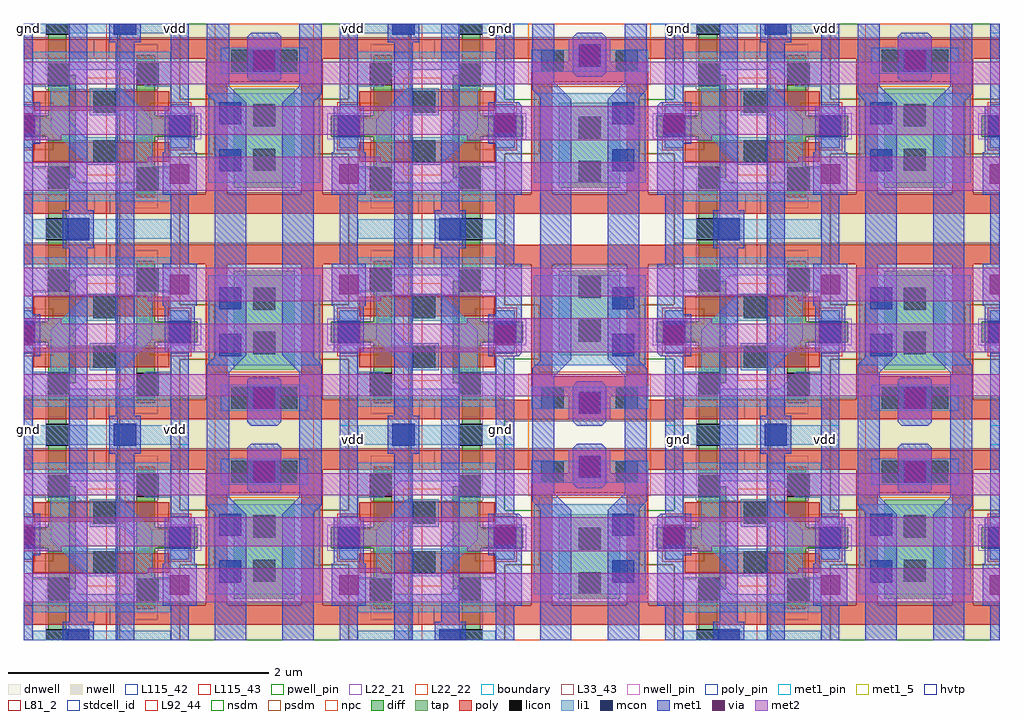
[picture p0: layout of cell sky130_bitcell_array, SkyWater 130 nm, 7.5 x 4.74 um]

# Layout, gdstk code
from math import pi, radians
import gdstk
lib = gdstk.Library(unit=1e-6, precision=1e-09)
def R(c, l, rs):  # rectangles x0, y0, x1, y1
    for r in rs: c.add(gdstk.rectangle(r[:2], r[2:], *l))
def P(c, l, *ps):  # polygons
    for p in ps: c.add(gdstk.Polygon(p, *l))
L22_21 = (22, 21)
L22_22 = (22, 22)
L33_43 = (33, 43)
nwell_pin = (64, 16)
dnwell = (64, 18)
nwell = (64, 20)
diff = (65, 20)
tap = (65, 44)
poly_pin = (66, 16)
poly = (66, 20)
licon = (66, 44)
li1 = (67, 20)
mcon = (67, 44)
met1_5 = (68, 5)
met1_pin = (68, 16)
met1 = (68, 20)
via = (68, 44)
met2 = (69, 20)
hvtp = (78, 44)
L81_2 = (81, 2)
stdcell_id = (81, 4)
L92_44 = (92, 44)
nsdm = (93, 44)
psdm = (94, 20)
npc = (95, 20)
L115_42 = (115, 42)
L115_43 = (115, 43)
pwell_pin = (122, 16)
boundary = (235, 4)

sky130_fd_bd_sram__sram_ = lib.new_cell('sky130_fd_bd_sram__sram_sp_cell_met2')
R(sky130_fd_bd_sram__sram_, met2, [(0,0.295,1.2,0.465)])
P(sky130_fd_bd_sram__sram_, met2, [(0,0.635),(0,0.895),(0.29,0.895),(0.29,0.855),(1.2,0.855),(1.2,0.635)],
  [(0.955,1.025),(0.955,1.065),(0,1.065),(0,1.285),(1.2,1.285),(1.2,1.025)])

c_sky130_fd_bd_sram__sram_ = lib.new_cell('sky130_fd_bd_sram__sram_sp_cell_fom_serif_pmos')
R(c_sky130_fd_bd_sram__sram_, L22_22, [(0,0,0.16,0.12)])

c_sky130_fd_bd_sram__sram__ = lib.new_cell('sky130_fd_bd_sram__sram_sp_cell_fom_serif_nmos')
R(c_sky130_fd_bd_sram__sram__, L22_22, [(0,0,0.16,0.12)])

c_sky130_fd_bd_sram__sram___ = lib.new_cell('sky130_fd_bd_sram__sram_sp_cell_fom_serifs')
c_sky130_fd_bd_sram__sram___.add(gdstk.Reference(c_sky130_fd_bd_sram__sram_, (0.97,0)))
c_sky130_fd_bd_sram__sram___.add(gdstk.Reference(c_sky130_fd_bd_sram__sram_, (0.97,0.24)))
c_sky130_fd_bd_sram__sram___.add(gdstk.Reference(c_sky130_fd_bd_sram__sram__, (0.07,0.24)))
c_sky130_fd_bd_sram__sram___.add(gdstk.Reference(c_sky130_fd_bd_sram__sram__, (0.07,0)))

c_sky130_fd_bd_sram__sram____ = lib.new_cell('sky130_fd_bd_sram__sram_sp_cell')
R(c_sky130_fd_bd_sram__sram____, L22_21, [(0.17,0,0.19,0.395), (0.33,0,0.35,0.395), (0,0.69,0.19,0.71), (0,0.87,0.19,0.89), (0.17,1.185,0.19,1.58), (0.33,1.185,0.35,1.58)])
P(c_sky130_fd_bd_sram__sram____, L22_21, [(0.85,0.16),(0.85,1.42),(1.03,1.42),(1.03,0.89),(1.2,0.89),(1.2,0.87),(1.01,0.87),(1.01,1.335),(0.87,1.335),(0.87,0.245),(1.01,0.245),(1.01,0.71),(1.2,0.71),(1.2,0.69),(1.03,0.69),(1.03,0.16)])
R(c_sky130_fd_bd_sram__sram____, nwell, [(0.72,0,1.2,1.58)])
P(c_sky130_fd_bd_sram__sram____, diff, [(0.87,0.245),(0.87,1.335),(1.01,1.335),(1.01,0.87),(1.2,0.87),(1.2,0.71),(1.01,0.71),(1.01,0.245)],
  [(0.19,0),(0.19,0.71),(0,0.71),(0,0.87),(0.19,0.87),(0.19,1.58),(0.33,1.58),(0.33,1.185),(0.4,1.185),(0.4,0.395),(0.33,0.395),(0.33,0)])
R(c_sky130_fd_bd_sram__sram____, poly, [(0.08,0.12,1.2,0.27), (0.08,0.52,1.12,0.67), (0.08,0.91,1.12,1.06), (0.08,1.31,1.2,1.46)])
R(c_sky130_fd_bd_sram__sram____, licon, [(0.175,0,0.345,0.085), (0.87,0.305,1.04,0.475), (0.185,0.31,0.355,0.48), (0.535,0.515,0.705,0.685), (0,0.705,0.085,0.875), (1.115,0.705,1.2,0.875), (0.535,0.895,0.705,1.065), (0.185,1.1,0.355,1.27), (0.87,1.105,1.04,1.275), (0.175,1.495,0.345,1.58)])
R(c_sky130_fd_bd_sram__sram____, li1, [(0.07,0,1.13,0.075), (0,0.625,0.07,0.955), (1.13,0.625,1.2,0.955), (0.07,1.505,1.13,1.58)])
P(c_sky130_fd_bd_sram__sram____, li1, [(0.07,0.215),(0.07,0.485),(0.21,0.485),(0.21,0.805),(0.49,1.085),(0.71,1.085),(0.71,0.875),(0.48,0.875),(0.35,0.745),(0.35,0.355),(0.81,0.355),(0.94,0.485),(1.13,0.485),(1.13,0.215)],
  [(0.51,0.495),(0.51,0.705),(0.76,0.705),(0.85,0.795),(0.85,1.225),(0.43,1.225),(0.3,1.095),(0.07,1.095),(0.07,1.365),(1.13,1.365),(1.13,1.095),(0.99,1.095),(0.99,0.735),(0.75,0.495)])
R(c_sky130_fd_bd_sram__sram____, mcon, [(1.115,0.705,1.2,0.875)])
R(c_sky130_fd_bd_sram__sram____, hvtp, [(0.72,0,1.2,1.58)])
R(c_sky130_fd_bd_sram__sram____, L81_2, [(0,0,1.2,1.58)])
R(c_sky130_fd_bd_sram__sram____, L92_44, [(0.635,0,1.2,1.58)])
R(c_sky130_fd_bd_sram__sram____, nsdm, [(0,0,0.74,1.58)])
R(c_sky130_fd_bd_sram__sram____, psdm, [(0.74,0,1.2,1.58)])
R(c_sky130_fd_bd_sram__sram____, npc, [(0.49,0.415,0.78,1.165)])
P(c_sky130_fd_bd_sram__sram____, L115_43, [(1.11,0.605),(1.11,0.975),(1.2,0.975),(1.2,0.955),(1.13,0.955),(1.13,0.625),(1.2,0.625),(1.2,0.605)],
  [(0,0.605),(0,0.625),(0.07,0.625),(0.07,0.955),(0,0.955),(0,0.975),(0.09,0.975),(0.09,0.605)])
c_sky130_fd_bd_sram__sram____.add(gdstk.Reference(c_sky130_fd_bd_sram__sram___, (0,0.61)))
c_sky130_fd_bd_sram__sram____.add(gdstk.Label('npass', (0.3,0.21), layer=66, texttype=83))
c_sky130_fd_bd_sram__sram____.add(gdstk.Label('npd', (0.295,0.61), layer=66, texttype=83))
c_sky130_fd_bd_sram__sram____.add(gdstk.Label('npd', (0.295,1), layer=66, texttype=83))
c_sky130_fd_bd_sram__sram____.add(gdstk.Label('npass', (0.3,1.41), layer=66, texttype=83))
c_sky130_fd_bd_sram__sram____.add(gdstk.Label('ppu', (0.93,1.01), layer=66, texttype=83))
c_sky130_fd_bd_sram__sram____.add(gdstk.Label('ppu', (0.945,0.625), layer=66, texttype=83))
c_sky130_fd_bd_sram__sram____.add(gdstk.Label('ppu', (0.94,1.33), layer=66, texttype=83))
c_sky130_fd_bd_sram__sram____.add(gdstk.Label('ppu', (0.94,0.26), layer=66, texttype=83))

c_sky130_fd_bd_sram__sram_____ = lib.new_cell('sky130_fd_bd_sram__sram_sp_cell_addpoly')
R(c_sky130_fd_bd_sram__sram_____, poly, [(0,0.12,0.08,0.27), (0,1.31,0.08,1.46)])

c_sky130_fd_bd_sram__sram______ = lib.new_cell('sky130_fd_bd_sram__sram_sp_cell_metopt1')
R(c_sky130_fd_bd_sram__sram______, mcon, [(0.695,0,0.865,0.085), (0,0.705,0.085,0.875), (1.115,0.705,1.2,0.875), (0.335,1.495,0.505,1.58)])
P(c_sky130_fd_bd_sram__sram______, met1, [(1.13,0),(1.13,0.635),(1.095,0.635),(1.085,0.645),(1.085,0.99),(1.07,0.99),(1.07,1.315),(1.13,1.315),(1.13,1.58),(1.2,1.58),(1.2,0)],
  [(0.66,0),(0.66,0.145),(0.71,0.145),(0.71,1.58),(0.85,1.58),(0.85,0.145),(0.9,0.145),(0.9,0)],
  [(0.35,0),(0.35,1.435),(0.3,1.435),(0.3,1.58),(0.54,1.58),(0.54,1.435),(0.49,1.435),(0.49,0)],
  [(0,0),(0,1.58),(0.07,1.58),(0.07,0.925),(0.13,0.925),(0.13,0.605),(0.07,0.605),(0.07,0)])

c_sky130_fd_bd_sram__sram_______ = lib.new_cell('sky130_fd_bd_sram__sram_sp_cell_opt1_ce')
R(c_sky130_fd_bd_sram__sram_______, dnwell, [(0,0,1.2,1.58)])
c_sky130_fd_bd_sram__sram_______.add(gdstk.Reference(c_sky130_fd_bd_sram__sram____, (0,0)))
c_sky130_fd_bd_sram__sram_______.add(gdstk.Reference(c_sky130_fd_bd_sram__sram_____, (0,0)))
c_sky130_fd_bd_sram__sram_______.add(gdstk.Reference(c_sky130_fd_bd_sram__sram______, (0,0)))

c_sky130_fd_bd_sram__sram________ = lib.new_cell('sky130_fd_bd_sram__sram_sp_cell_via')
R(c_sky130_fd_bd_sram__sram________, via, [(0,0.69,0.075,0.84), (1.125,1.08,1.2,1.23)])

c_sky130_fd_bd_sram__sram_________ = lib.new_cell('sky130_fd_bd_sram__sram_sp_cell_p1_serif')
R(c_sky130_fd_bd_sram__sram_________, L33_43, [(-0.01,-0.125,0.09,0.125)])

c_sky130_fd_bd_sram__sram__________ = lib.new_cell('sky130_fd_bd_sram__sram_sp_cell_p1_serifs')
c_sky130_fd_bd_sram__sram__________.add(gdstk.Reference(c_sky130_fd_bd_sram__sram_________, (0.97,0.515)))
c_sky130_fd_bd_sram__sram__________.add(gdstk.Reference(c_sky130_fd_bd_sram__sram_________, (0.97,0.125)))
c_sky130_fd_bd_sram__sram__________.add(gdstk.Reference(c_sky130_fd_bd_sram__sram_________, (0.01,0.515)))
c_sky130_fd_bd_sram__sram__________.add(gdstk.Reference(c_sky130_fd_bd_sram__sram_________, (0.01,0.125)))

c_sky130_fd_bd_sram__sram___________ = lib.new_cell('sky130_fd_bd_sram__sram_sp_cell_p1m_sizing')
R(c_sky130_fd_bd_sram__sram___________, L33_43, [(0.08,0.105,1.2,0.12), (0.07,0.505,1.13,0.52), (0.07,0.895,1.13,0.91), (0.08,1.295,1.2,1.31)])
c_sky130_fd_bd_sram__sram___________.add(gdstk.Reference(c_sky130_fd_bd_sram__sram__________, (0.07,0.47)))

c_sky130_fd_bd_sram__sram____________ = lib.new_cell('sky130_fd_bd_sram__sram_sp_cell_addpoly_sizing')
R(c_sky130_fd_bd_sram__sram____________, L33_43, [(0,0.105,0.08,0.12), (0,1.295,0.08,1.31)])

c_sky130_fd_bd_sram__sram_____________ = lib.new_cell('sky130_fd_bd_sram__sram_sp_cell_opt1')
R(c_sky130_fd_bd_sram__sram_____________, nwell_pin, [(1.14,0.155,1.19,0.205), (0.01,0.17,0.06,0.23)])
R(c_sky130_fd_bd_sram__sram_____________, nwell, [(0.72,0,1.2,1.58)])
R(c_sky130_fd_bd_sram__sram_____________, poly_pin, [(0.54,0.12,0.66,0.27), (0.545,1.31,0.665,1.46)])
R(c_sky130_fd_bd_sram__sram_____________, poly, [(0.08,1.31,1.2,1.46)])
R(c_sky130_fd_bd_sram__sram_____________, met1_5, [(0,0,0.07,0.075), (1.13,0,1.2,0.075), (0.35,1.04,0.49,1.22), (0.71,1.04,0.85,1.22)])
R(c_sky130_fd_bd_sram__sram_____________, met1_pin, [(0,0,0.07,0.075), (1.13,0,1.2,0.075), (0.35,1.04,0.49,1.22), (0.71,1.04,0.85,1.22)])
R(c_sky130_fd_bd_sram__sram_____________, met1, [(0,0,0.07,0.075), (1.13,0,1.2,0.075), (0.35,1.04,0.49,1.22), (0.71,1.04,0.85,1.22)])
R(c_sky130_fd_bd_sram__sram_____________, pwell_pin, [(0.01,0.17,0.06,0.23), (0.01,0.17,0.06,0.23)])
c_sky130_fd_bd_sram__sram_____________.add(gdstk.Reference(sky130_fd_bd_sram__sram_, (0,0)))
c_sky130_fd_bd_sram__sram_____________.add(gdstk.Reference(c_sky130_fd_bd_sram__sram_______, (0,0)))
c_sky130_fd_bd_sram__sram_____________.add(gdstk.Reference(c_sky130_fd_bd_sram__sram________, (0,0)))
c_sky130_fd_bd_sram__sram_____________.add(gdstk.Reference(c_sky130_fd_bd_sram__sram___________, (0,0)))
c_sky130_fd_bd_sram__sram_____________.add(gdstk.Reference(c_sky130_fd_bd_sram__sram____________, (0,0)))
c_sky130_fd_bd_sram__sram_____________.add(gdstk.Label('BL', (0.425,1.16), layer=68, texttype=5))
c_sky130_fd_bd_sram__sram_____________.add(gdstk.Label('BR', (0.79,1.16), layer=68, texttype=5))
c_sky130_fd_bd_sram__sram_____________.add(gdstk.Label('VGND', (0.035,0.04), layer=68, texttype=5))
c_sky130_fd_bd_sram__sram_____________.add(gdstk.Label('VPWR', (1.165,0.04), layer=68, texttype=5))
c_sky130_fd_bd_sram__sram_____________.add(gdstk.Label('bl', (0.42,1.13), layer=68, texttype=5))
c_sky130_fd_bd_sram__sram_____________.add(gdstk.Label('br', (0.78,1.13), layer=68, texttype=5))
c_sky130_fd_bd_sram__sram_____________.add(gdstk.Label('gnd', (0.035,0.038), layer=68, texttype=5))
c_sky130_fd_bd_sram__sram_____________.add(gdstk.Label('vdd', (1.165,0.038), layer=68, texttype=5))
c_sky130_fd_bd_sram__sram_____________.add(gdstk.Label('WL', (0.605,1.385), layer=66, texttype=5))
c_sky130_fd_bd_sram__sram_____________.add(gdstk.Label('wl', (0.64,1.385), layer=66, texttype=5))
c_sky130_fd_bd_sram__sram_____________.add(gdstk.Label('VPB', (1.165,0.18), layer=64, texttype=5))
c_sky130_fd_bd_sram__sram_____________.add(gdstk.Label('vpb', (0.96,0.79), layer=64, texttype=5))
c_sky130_fd_bd_sram__sram_____________.add(gdstk.Label('VNB', (0.035,0.2), layer=64, texttype=59))
c_sky130_fd_bd_sram__sram_____________.add(gdstk.Label('vnb', (0.035,0.2), layer=64, texttype=59))

c_sky130_fd_bd_sram__sram______________ = lib.new_cell('sky130_fd_bd_sram__sram_sp_wlstrap_ce')
P(c_sky130_fd_bd_sram__sram______________, L22_21, [(0,0.69),(0,0.71),(0.135,0.71),(0.135,0.87),(0,0.87),(0,0.89),(0.165,0.89),(0.165,0.69)],
  [(1.135,0.69),(1.135,0.89),(1.3,0.89),(1.3,0.87),(1.165,0.87),(1.165,0.71),(1.3,0.71),(1.3,0.69)])
R(c_sky130_fd_bd_sram__sram______________, dnwell, [(0,0,1.3,1.58)])
R(c_sky130_fd_bd_sram__sram______________, nwell, [(0,0,1.3,1.58)])
R(c_sky130_fd_bd_sram__sram______________, diff, [(0,0.71,0.135,0.87), (1.165,0.71,1.3,0.87)])
R(c_sky130_fd_bd_sram__sram______________, tap, [(0.415,0.5,0.885,1.26)])
P(c_sky130_fd_bd_sram__sram______________, poly, [(0,0.12),(0,0.27),(0.2,0.27),(0.2,1.31),(0,1.31),(0,1.46),(1.3,1.46),(1.3,1.31),(1.1,1.31),(1.1,0.27),(1.3,0.27),(1.3,0.12),(0.935,0.12),(0.935,1.31),(0.365,1.31),(0.365,0.45),(0.935,0.45),(0.935,0.12)])
R(c_sky130_fd_bd_sram__sram______________, licon, [(0.395,0.2,0.565,0.37), (0.735,0.2,0.905,0.37), (0.565,0.62,0.735,0.79), (0,0.705,0.085,0.875), (1.215,0.705,1.3,0.875), (0.565,0.96,0.735,1.13)])
R(c_sky130_fd_bd_sram__sram______________, li1, [(0.315,0.185,0.985,0.385), (0.22,0.535,1.08,1.225), (0,0.625,0.07,0.955), (1.23,0.625,1.3,0.955)])
R(c_sky130_fd_bd_sram__sram______________, mcon, [(0.565,0.2,0.735,0.37), (0.305,0.605,0.475,0.775), (0,0.705,0.085,0.875), (1.215,0.705,1.3,0.875), (0.305,0.965,0.475,1.135)])
P(c_sky130_fd_bd_sram__sram______________, met1, [(0.21,0),(0.21,0.54),(0.27,0.6),(0.27,1.58),(0.51,1.58),(0.51,0.61),(0.38,0.48),(0.38,0)],
  [(0.55,0.07),(0.52,0.1),(0.52,0.42),(0.54,0.44),(0.76,0.44),(0.78,0.42),(0.78,0.1),(0.75,0.07)],
  [(0.92,0),(0.92,0.48),(0.79,0.61),(0.79,1.58),(1.03,1.58),(1.03,0.6),(1.09,0.54),(1.09,0)],
  [(1.23,0),(1.23,0.635),(1.195,0.635),(1.185,0.645),(1.185,0.99),(1.17,0.99),(1.17,1.315),(1.23,1.315),(1.23,1.58),(1.3,1.58),(1.3,0)],
  [(0,0),(0,1.58),(0.07,1.58),(0.07,1.315),(0.13,1.315),(0.13,0.99),(0.115,0.99),(0.115,0.645),(0.105,0.635),(0.07,0.635),(0.07,0)])
R(c_sky130_fd_bd_sram__sram______________, via, [(0.575,0.205,0.725,0.355), (0,1.08,0.075,1.23), (1.225,1.08,1.3,1.23)])
R(c_sky130_fd_bd_sram__sram______________, hvtp, [(0,0,1.3,1.58)])
R(c_sky130_fd_bd_sram__sram______________, L81_2, [(0,0,1.3,1.58)])
R(c_sky130_fd_bd_sram__sram______________, L92_44, [(0,0,1.3,1.58)])
P(c_sky130_fd_bd_sram__sram______________, nsdm, [(0,0),(0,0.58),(0.265,0.58),(0.265,1),(0,1),(0,1.58),(1.3,1.58),(1.3,1),(1.035,1),(1.035,0.58),(1.3,0.58),(1.3,0)])
R(c_sky130_fd_bd_sram__sram______________, psdm, [(0,0.58,0.265,1), (1.035,0.58,1.3,1)])
R(c_sky130_fd_bd_sram__sram______________, npc, [(0.27,0,1.03,0.485)])
R(c_sky130_fd_bd_sram__sram______________, L115_42, [(0.22,0.535,0.23,1.055), (1.07,0.535,1.08,1.055)])
P(c_sky130_fd_bd_sram__sram______________, L115_43, [(1.21,0.605),(1.21,0.975),(1.3,0.975),(1.3,0.955),(1.23,0.955),(1.23,0.625),(1.3,0.625),(1.3,0.605)],
  [(0,0.605),(0,0.625),(0.07,0.625),(0.07,0.955),(0,0.955),(0,0.975),(0.09,0.975),(0.09,0.605)])

c_sky130_fd_bd_sram__sram_______________ = lib.new_cell('sky130_fd_bd_sram__sram_sp_wlstrap_met2')
R(c_sky130_fd_bd_sram__sram_______________, met2, [(0.52,0.12,0.78,0.44), (0,0.295,1.3,0.465), (0,0.635,1.3,0.855), (0,1.025,1.3,1.285)])

c_sky130_fd_bd_sram__sram________________ = lib.new_cell('sky130_fd_bd_sram__sram_sp_wlstrap_p1m_siz')
R(c_sky130_fd_bd_sram__sram________________, L33_43, [(0,0.105,1.3,0.12), (0,1.295,0.2,1.31), (0.365,1.295,0.935,1.31), (1.1,1.295,1.3,1.31)])

c_sky130_fd_bd_sram__sram_________________ = lib.new_cell('sky130_fd_bd_sram__sram_sp_wlstrap')
R(c_sky130_fd_bd_sram__sram_________________, met1_pin, [(0,0,0.07,0.075), (1.23,0,1.3,0.075)])
c_sky130_fd_bd_sram__sram_________________.add(gdstk.Reference(c_sky130_fd_bd_sram__sram______________, (0,0)))
c_sky130_fd_bd_sram__sram_________________.add(gdstk.Reference(c_sky130_fd_bd_sram__sram_______________, (0,0)))
c_sky130_fd_bd_sram__sram_________________.add(gdstk.Reference(c_sky130_fd_bd_sram__sram________________, (0,0)))
c_sky130_fd_bd_sram__sram_________________.add(gdstk.Label('VPWR', (0.035,0.04), layer=68, texttype=5))
c_sky130_fd_bd_sram__sram_________________.add(gdstk.Label('VPWR', (1.265,0.04), layer=68, texttype=5))

c_sky130_fd_bd_sram__sram__________________ = lib.new_cell('sky130_fd_bd_sram__sram_l1m1')
R(c_sky130_fd_bd_sram__sram__________________, li1, [(0,0,0.17,0.17)])
R(c_sky130_fd_bd_sram__sram__________________, mcon, [(0,0,0.17,0.17)])
R(c_sky130_fd_bd_sram__sram__________________, met1, [(-0.06,-0.03,0.23,0.2)])

c_sky130_fd_bd_sram__sram___________________ = lib.new_cell('sky130_fd_bd_sram__sram_sp_wlstrap_p_ce')
P(c_sky130_fd_bd_sram__sram___________________, L22_21, [(0,0.69),(0,0.71),(0.135,0.71),(0.135,0.87),(0,0.87),(0,0.89),(0.165,0.89),(0.165,0.69)],
  [(1.135,0.69),(1.135,0.89),(1.3,0.89),(1.3,0.87),(1.165,0.87),(1.165,0.71),(1.3,0.71),(1.3,0.69)])
R(c_sky130_fd_bd_sram__sram___________________, dnwell, [(0,0,1.3,1.58)])
R(c_sky130_fd_bd_sram__sram___________________, diff, [(0,0.71,0.135,0.87), (1.165,0.71,1.3,0.87)])
R(c_sky130_fd_bd_sram__sram___________________, tap, [(0.415,0.61,0.885,1.26)])
R(c_sky130_fd_bd_sram__sram___________________, poly, [(0.53,0.12,0.77,0.45), (0.2,1.31,1.1,1.46)])
P(c_sky130_fd_bd_sram__sram___________________, poly, [(0,0.12),(0,0.27),(0.2,0.27),(0.2,1.31),(0,1.31),(0,1.46),(0.365,1.46),(0.365,0.45),(0.53,0.45),(0.53,0.12)],
  [(0.77,0.12),(0.77,0.45),(0.935,0.45),(0.935,1.46),(1.3,1.46),(1.3,1.31),(1.1,1.31),(1.1,0.27),(1.3,0.27),(1.3,0.12)])
R(c_sky130_fd_bd_sram__sram___________________, licon, [(0.28,0.2,0.45,0.37), (0.85,0.2,1.02,0.37), (0,0.705,0.085,0.875), (1.215,0.705,1.3,0.875), (0.565,0.715,0.735,0.885), (0.565,1.055,0.735,1.225)])
R(c_sky130_fd_bd_sram__sram___________________, li1, [(0.22,0.535,1.08,1.225), (0,0.625,0.07,0.955), (1.23,0.625,1.3,0.955)])
R(c_sky130_fd_bd_sram__sram___________________, mcon, [(0.825,0.605,0.995,0.775), (0,0.705,0.085,0.875), (1.215,0.705,1.3,0.875), (0.825,0.965,0.995,1.135)])
P(c_sky130_fd_bd_sram__sram___________________, met1, [(0.555,0.07),(0.52,0.105),(0.52,0.375),(0.555,0.41),(0.745,0.41),(0.78,0.375),(0.78,0.105),(0.745,0.07)],
  [(0.21,0),(0.21,0.51),(0.27,0.57),(0.27,1.58),(0.51,1.58),(0.51,0.58),(0.38,0.45),(0.38,0)],
  [(0.92,0),(0.92,0.45),(0.79,0.58),(0.79,1.58),(1.03,1.58),(1.03,0.57),(1.09,0.51),(1.09,0)],
  [(1.23,0),(1.23,0.605),(1.195,0.605),(1.17,0.63),(1.17,1.315),(1.23,1.315),(1.23,1.58),(1.3,1.58),(1.3,0)],
  [(0,0),(0,1.58),(0.07,1.58),(0.07,1.315),(0.13,1.315),(0.13,0.63),(0.105,0.605),(0.07,0.605),(0.07,0)])
R(c_sky130_fd_bd_sram__sram___________________, via, [(0.575,0.17,0.725,0.32), (0,0.69,0.075,0.84), (1.225,0.69,1.3,0.84)])
R(c_sky130_fd_bd_sram__sram___________________, met2, [(0.49,0.12,0.81,0.44)])
R(c_sky130_fd_bd_sram__sram___________________, L81_2, [(0,0,1.3,1.58)])
R(c_sky130_fd_bd_sram__sram___________________, nsdm, [(0,0.58,0.265,1), (1.035,0.58,1.3,1)])
P(c_sky130_fd_bd_sram__sram___________________, psdm, [(0.265,0.48),(0.265,1),(0,1),(0,1.58),(1.3,1.58),(1.3,1),(1.035,1),(1.035,0.48)])
R(c_sky130_fd_bd_sram__sram___________________, npc, [(0.18,0,1.12,0.47)])
R(c_sky130_fd_bd_sram__sram___________________, L115_42, [(0.22,0.535,0.23,1.055), (1.07,0.535,1.08,1.055)])
P(c_sky130_fd_bd_sram__sram___________________, L115_43, [(1.21,0.605),(1.21,0.975),(1.3,0.975),(1.3,0.955),(1.23,0.955),(1.23,0.625),(1.3,0.625),(1.3,0.605)],
  [(0,0.605),(0,0.625),(0.07,0.625),(0.07,0.955),(0,0.955),(0,0.975),(0.09,0.975),(0.09,0.605)])
c_sky130_fd_bd_sram__sram___________________.add(gdstk.FlexPath([(0.2,0.285),(1.1,0.285)], 0.17, ends="flush", simple_path=True, layer=67, datatype=20))  # li1
c_sky130_fd_bd_sram__sram___________________.add(gdstk.Reference(c_sky130_fd_bd_sram__sram__________________, (0.735,0.16), rotation=pi/2))

c_sky130_fd_bd_sram__sram____________________ = lib.new_cell('sky130_fd_bd_sram__sram_sp_wlstrap_p_met2')
R(c_sky130_fd_bd_sram__sram____________________, met2, [(0,0.295,1.3,0.465), (0,0.635,1.3,0.895), (0,1.065,1.3,1.285)])

c_sky130_fd_bd_sram__sram_____________________ = lib.new_cell('sky130_fd_bd_sram__sram_sp_wlstrap_p')
R(c_sky130_fd_bd_sram__sram_____________________, met1_pin, [(0,0,0.07,0.075), (1.23,0,1.3,0.075)])
c_sky130_fd_bd_sram__sram_____________________.add(gdstk.Reference(c_sky130_fd_bd_sram__sram___________________, (0,0)))
c_sky130_fd_bd_sram__sram_____________________.add(gdstk.Reference(c_sky130_fd_bd_sram__sram____________________, (0,0)))
c_sky130_fd_bd_sram__sram_____________________.add(gdstk.Reference(c_sky130_fd_bd_sram__sram________________, (0,0)))
c_sky130_fd_bd_sram__sram_____________________.add(gdstk.Label('VGND', (0.035,0.04), layer=68, texttype=5))
c_sky130_fd_bd_sram__sram_____________________.add(gdstk.Label('VGND', (1.265,0.04), layer=68, texttype=5))

c_sky130_fd_bd_sram__sram______________________ = lib.new_cell('sky130_fd_bd_sram__sram_sp_cell_opt1a')
R(c_sky130_fd_bd_sram__sram______________________, nwell_pin, [(1.14,0.155,1.19,0.205), (0.01,0.17,0.06,0.23)])
R(c_sky130_fd_bd_sram__sram______________________, nwell, [(0.72,0,1.2,1.58)])
R(c_sky130_fd_bd_sram__sram______________________, poly_pin, [(0.54,0.12,0.66,0.27), (0.545,1.31,0.665,1.46)])
R(c_sky130_fd_bd_sram__sram______________________, poly, [(0.08,0.12,1.2,0.27)])
R(c_sky130_fd_bd_sram__sram______________________, met1_5, [(0,0,0.07,0.075), (1.13,0,1.2,0.075), (0.35,1.04,0.49,1.22), (0.71,1.04,0.85,1.22)])
R(c_sky130_fd_bd_sram__sram______________________, met1_pin, [(0,0,0.07,0.075), (1.13,0,1.2,0.075), (0.35,1.04,0.49,1.22), (0.71,1.04,0.85,1.22)])
R(c_sky130_fd_bd_sram__sram______________________, met1, [(0,0,0.07,0.075), (1.13,0,1.2,0.075), (0.35,1.04,0.49,1.22), (0.71,1.04,0.85,1.22)])
R(c_sky130_fd_bd_sram__sram______________________, pwell_pin, [(0.01,0.17,0.06,0.23), (0.01,0.17,0.06,0.23)])
c_sky130_fd_bd_sram__sram______________________.add(gdstk.Reference(sky130_fd_bd_sram__sram_, (0,0)))
c_sky130_fd_bd_sram__sram______________________.add(gdstk.Reference(c_sky130_fd_bd_sram__sram_______, (0,0)))
c_sky130_fd_bd_sram__sram______________________.add(gdstk.Reference(c_sky130_fd_bd_sram__sram________, (0,0)))
c_sky130_fd_bd_sram__sram______________________.add(gdstk.Reference(c_sky130_fd_bd_sram__sram____________, (0,1.58), x_reflection=True))
c_sky130_fd_bd_sram__sram______________________.add(gdstk.Reference(c_sky130_fd_bd_sram__sram___________, (0,1.58), x_reflection=True))
c_sky130_fd_bd_sram__sram______________________.add(gdstk.Label('BL', (0.425,1.16), layer=68, texttype=5))
c_sky130_fd_bd_sram__sram______________________.add(gdstk.Label('BR', (0.79,1.16), layer=68, texttype=5))
c_sky130_fd_bd_sram__sram______________________.add(gdstk.Label('VGND', (0.035,0.04), layer=68, texttype=5))
c_sky130_fd_bd_sram__sram______________________.add(gdstk.Label('VPWR', (1.165,0.04), layer=68, texttype=5))
c_sky130_fd_bd_sram__sram______________________.add(gdstk.Label('bl', (0.42,1.13), layer=68, texttype=5))
c_sky130_fd_bd_sram__sram______________________.add(gdstk.Label('br', (0.78,1.13), layer=68, texttype=5))
c_sky130_fd_bd_sram__sram______________________.add(gdstk.Label('gnd', (0.035,0.038), layer=68, texttype=5))
c_sky130_fd_bd_sram__sram______________________.add(gdstk.Label('vdd', (1.165,0.038), layer=68, texttype=5))
c_sky130_fd_bd_sram__sram______________________.add(gdstk.Label('WL', (0.6,0.195), layer=66, texttype=5))
c_sky130_fd_bd_sram__sram______________________.add(gdstk.Label('wl', (0.64,0.195), layer=66, texttype=5))
c_sky130_fd_bd_sram__sram______________________.add(gdstk.Label('VPB', (1.165,0.18), layer=64, texttype=5))
c_sky130_fd_bd_sram__sram______________________.add(gdstk.Label('vpb', (0.96,0.79), layer=64, texttype=5))
c_sky130_fd_bd_sram__sram______________________.add(gdstk.Label('VNB', (0.035,0.2), layer=64, texttype=59))
c_sky130_fd_bd_sram__sram______________________.add(gdstk.Label('vnb', (0.035,0.2), layer=64, texttype=59))

c_sky130_fd_bd_sram__sram_______________________ = lib.new_cell('sky130_fd_bd_sram__sram_sp_wlstrapa_p1m_siz')
R(c_sky130_fd_bd_sram__sram_______________________, L33_43, [(0,0.105,1.3,0.12), (0,1.295,0.2,1.31), (1.1,1.295,1.3,1.31)])

c_sky130_fd_bd_sram__sram________________________ = lib.new_cell('sky130_fd_bd_sram__sram_sp_wlstrapa')
R(c_sky130_fd_bd_sram__sram________________________, met1_pin, [(0,0,0.07,0.075), (1.23,0,1.3,0.075)])
c_sky130_fd_bd_sram__sram________________________.add(gdstk.Reference(c_sky130_fd_bd_sram__sram_______________________, (0,1.58), x_reflection=True))
c_sky130_fd_bd_sram__sram________________________.add(gdstk.Reference(c_sky130_fd_bd_sram__sram______________, (0,0)))
c_sky130_fd_bd_sram__sram________________________.add(gdstk.Reference(c_sky130_fd_bd_sram__sram_______________, (0,0)))
c_sky130_fd_bd_sram__sram________________________.add(gdstk.Label('VPWR', (0.035,0.04), layer=68, texttype=5))
c_sky130_fd_bd_sram__sram________________________.add(gdstk.Label('VPWR', (1.265,0.04), layer=68, texttype=5))

sky130_bitcell_array = lib.new_cell('sky130_bitcell_array')
R(sky130_bitcell_array, met1_5, [(0,99.465,0.07,99.54), (1.13,99.465,1.2,99.54), (2.5,99.465,2.57,99.54), (3.63,99.465,3.7,99.54), (5,99.465,5.07,99.54), (6.13,99.465,6.2,99.54), (0,99.54,0.07,99.615), (1.13,99.54,1.2,99.615), (2.5,99.54,2.57,99.615), (3.63,99.54,3.7,99.615), (5,99.54,5.07,99.615), (6.13,99.54,6.2,99.615), (0,102.625,0.07,102.7), (1.13,102.625,1.2,102.7), (2.5,102.625,2.57,102.7), (3.63,102.625,3.7,102.7), (5,102.625,5.07,102.7), (6.13,102.625,6.2,102.7)])
R(sky130_bitcell_array, met1, [(0,99.465,0.07,99.54), (1.13,99.465,1.2,99.54), (2.5,99.465,2.57,99.54), (3.63,99.465,3.7,99.54), (5,99.465,5.07,99.54), (6.13,99.465,6.2,99.54), (0,99.54,0.07,99.615), (1.13,99.54,1.2,99.615), (2.5,99.54,2.57,99.615), (3.63,99.54,3.7,99.615), (5,99.54,5.07,99.615), (6.13,99.54,6.2,99.615), (0,102.625,0.07,102.7), (1.13,102.625,1.2,102.7), (2.5,102.625,2.57,102.7), (3.63,102.625,3.7,102.7), (5,102.625,5.07,102.7), (6.13,102.625,6.2,102.7)])
R(sky130_bitcell_array, stdcell_id, [(0,97.96,7.5,102.7)])
R(sky130_bitcell_array, boundary, [(0,97.96,7.5,102.7)])
sky130_bitcell_array.add(gdstk.Reference(c_sky130_fd_bd_sram__sram_____________, (0,99.54), x_reflection=True))
sky130_bitcell_array.add(gdstk.Reference(c_sky130_fd_bd_sram__sram_________________, (1.2,99.54), x_reflection=True))
sky130_bitcell_array.add(gdstk.Reference(c_sky130_fd_bd_sram__sram_____________, (3.7,99.54), rotation=pi))
sky130_bitcell_array.add(gdstk.Reference(c_sky130_fd_bd_sram__sram_____________________, (3.7,99.54), x_reflection=True))
sky130_bitcell_array.add(gdstk.Reference(c_sky130_fd_bd_sram__sram_____________, (5,99.54), x_reflection=True))
sky130_bitcell_array.add(gdstk.Reference(c_sky130_fd_bd_sram__sram_________________, (6.2,99.54), x_reflection=True))
sky130_bitcell_array.add(gdstk.Reference(c_sky130_fd_bd_sram__sram_____________, (0,102.7), x_reflection=True))
sky130_bitcell_array.add(gdstk.Reference(c_sky130_fd_bd_sram__sram_________________, (1.2,102.7), x_reflection=True))
sky130_bitcell_array.add(gdstk.Reference(c_sky130_fd_bd_sram__sram_____________, (3.7,102.7), rotation=pi))
sky130_bitcell_array.add(gdstk.Reference(c_sky130_fd_bd_sram__sram_____________________, (3.7,102.7), x_reflection=True))
sky130_bitcell_array.add(gdstk.Reference(c_sky130_fd_bd_sram__sram_____________, (5,102.7), x_reflection=True))
sky130_bitcell_array.add(gdstk.Reference(c_sky130_fd_bd_sram__sram_________________, (6.2,102.7), x_reflection=True))
sky130_bitcell_array.add(gdstk.Reference(c_sky130_fd_bd_sram__sram______________________, (0,99.54)))
sky130_bitcell_array.add(gdstk.Reference(c_sky130_fd_bd_sram__sram________________________, (1.2,99.54)))
sky130_bitcell_array.add(gdstk.Reference(c_sky130_fd_bd_sram__sram______________________, (3.7,99.54), rotation=pi, x_reflection=True))
sky130_bitcell_array.add(gdstk.Reference(c_sky130_fd_bd_sram__sram_____________________, (3.7,99.54)))
sky130_bitcell_array.add(gdstk.Reference(c_sky130_fd_bd_sram__sram______________________, (5,99.54)))
sky130_bitcell_array.add(gdstk.Reference(c_sky130_fd_bd_sram__sram________________________, (6.2,99.54)))
sky130_bitcell_array.add(gdstk.Label('gnd', (3.665,99.578), layer=68, texttype=5))
sky130_bitcell_array.add(gdstk.Label('vdd', (1.165,99.578), layer=68, texttype=5))
sky130_bitcell_array.add(gdstk.Label('gnd', (0.035,102.662), layer=68, texttype=5))
sky130_bitcell_array.add(gdstk.Label('gnd', (0.035,99.578), layer=68, texttype=5))
sky130_bitcell_array.add(gdstk.Label('gnd', (3.665,102.662), layer=68, texttype=5))
sky130_bitcell_array.add(gdstk.Label('gnd', (3.665,99.502), layer=68, texttype=5))
sky130_bitcell_array.add(gdstk.Label('gnd', (5.035,99.502), layer=68, texttype=5))
sky130_bitcell_array.add(gdstk.Label('vdd', (6.165,102.662), layer=68, texttype=5))
sky130_bitcell_array.add(gdstk.Label('gnd', (5.035,102.662), layer=68, texttype=5))
sky130_bitcell_array.add(gdstk.Label('vdd', (2.535,102.662), layer=68, texttype=5))
sky130_bitcell_array.add(gdstk.Label('vdd', (6.165,99.502), layer=68, texttype=5))
sky130_bitcell_array.add(gdstk.Label('vdd', (1.165,99.502), layer=68, texttype=5))
sky130_bitcell_array.add(gdstk.Label('gnd', (5.035,99.578), layer=68, texttype=5))
sky130_bitcell_array.add(gdstk.Label('vdd', (6.165,99.578), layer=68, texttype=5))
sky130_bitcell_array.add(gdstk.Label('vdd', (1.165,102.662), layer=68, texttype=5))
sky130_bitcell_array.add(gdstk.Label('gnd', (0.035,99.502), layer=68, texttype=5))
sky130_bitcell_array.add(gdstk.Label('vdd', (2.535,99.502), layer=68, texttype=5))
sky130_bitcell_array.add(gdstk.Label('vdd', (2.535,99.578), layer=68, texttype=5))

lib.write_gds('sky130_bitcell_array.gds')
